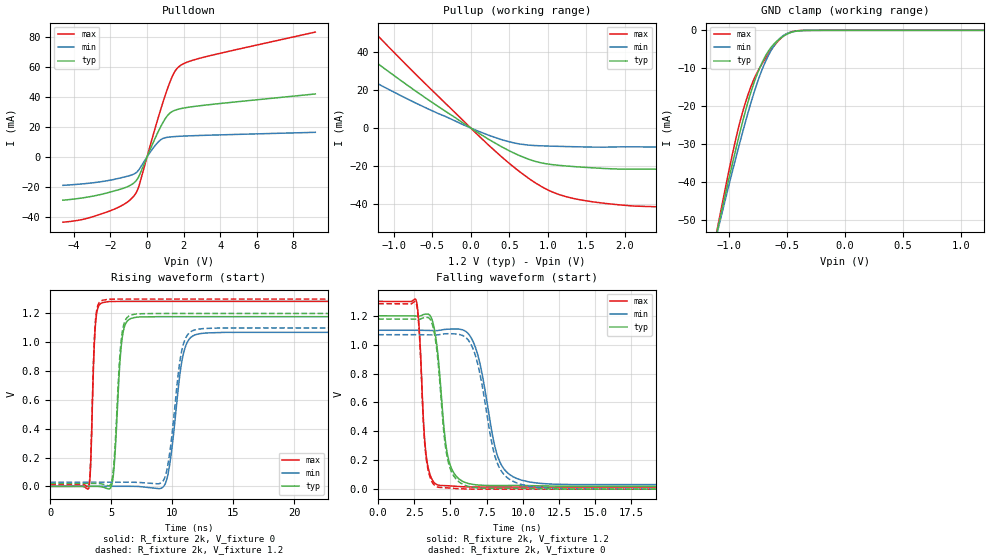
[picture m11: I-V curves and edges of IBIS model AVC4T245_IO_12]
| [Disclaimer] Property of Texas Instruments Incorporated.  Unauthorized
| reproduction and/or distribution is strictly prohibited.
| This product is protected under copyright law.
| Created  2004, (C) Copyright  2004, Texas Instruments
| Incorporated, All Rights Reserved
| UNLESS THERE IS A SIGNED, WRITTEN AGREEMENT TO THE
| CONTRARY, TEXAS INSTRUMENTS (TI) IS PROVIDING THE IBIS
| MODELS  AND WITHOUT ANY WARRANTY, EXPRESSED OR
| IMPLIED.  TI assumes no liability for:
| 1) the accuracy of the IBIS models provided to your
| company;
| 2) the proper functioning of these IBIS Models in your
| design or for any resulting applications; or
| 3) infringement of patents, copyrights or intellectual
| property rights resulting from your use of these IBIS
| models.
| TI provides IBIS Models as a service to our customers.
| You and your company shall not distribute, sell or give
| these models to anyone else without prior written
| permission from TI.
| TI reserves the right to make changes to our products or
| to discontinue any semiconductor product or service
| without notice, and advises our customers to obtain the
| latest version of relevant information to verify, before
| placing orders, that the information being relied on is
| current.
| Please be aware that your receipt and use of the IBIS
| information provided shall serve as acceptance of these
| terms and conditions.  If you do not accept these terms,
| you should return or destroy the IBIS models and any
| other accompanying information immediately.
| From SN74AVC4T245.ibs, Texas Instruments, Inc.
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[Model]   AVC4T245_IO_12
Model_type  I/O
Vinl=0.385
Vinh=0.845
Enable   Active-Low
Vref =   0
Rref =   2000
Cref =   15p
Vmeas =   0.6
| variable   typ   min   max
C_comp   5.32pF   4.67pF   5.87pF
| C_pullup   5.80pF   3.90pF   7.86pF
| C_pulldown   5.35pF   4.78pF   7.04pF
| C_tri-state   5.32pF   4.67pF   5.87pF
[Temperature Range]   40   100   -40
| Ambient temperature   25   85   -40
[Voltage range]   1.2   1.1   1.3
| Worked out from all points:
|   slope of the pulldown table from 0 to 0.18 V, typ, clamps not added: 34.6 ohm
|   slope of the pullup table from 0 to 0.18 V, typ, clamps not added: 38.6 ohm
|   GND clamp passes 1 mA (typ) near -0.50 V on its own axis
|   rising waveform, R_fixture 2k, V_fixture 0: 20-80 % time 470ps typ, 867ps min, 282ps max; typ from 0 V to 1.18 V
|   falling waveform, R_fixture 2k, V_fixture 1.2: 20-80 % time 670ps typ, 1.21ns min, 400ps max; typ from 1.2 V to 0.02 V
|   rising waveform, R_fixture 2k, V_fixture 1.2: 20-80 % time 464ps typ, 850ps min, 280ps max; typ from 0.02 V to 1.2 V
|   falling waveform, R_fixture 2k, V_fixture 0: 20-80 % time 669ps typ, 1.21ns min, 398ps max; typ from 1.18 V to 0 V
[GND Clamp]
| AVC4T245_IO_12
|   Voltage   I(typ)   I(min)   I(max)
-4.6V     -600.6mA   -549.4mA   -665.2mA
-1.095V   -51.67mA   -52.21mA   -50.99mA
-1.07V    -48.21mA   -49.07mA   -47.1mA
-940mV    -30.91mA   -33.25mA   -28.18mA
-840mV    -19.08mA   -21.94mA   -17.15mA
-775mV    -12.89mA   -15.38mA   -12.1mA
-695mV    -7.221mA   -8.795mA   -7.744mA
-615mV    -3.667mA   -4.134mA   -4.191mA
-545mV    -1.809mA   -1.655mA   -1.862mA
-465mV    -549.4uA   -452.9uA   -430.6uA
-360mV    -50.53uA   -51.21uA   -21.62uA
1.2V      713.5pA    34.31nA    67.13pA
[Pulldown]
| AVC4T245_IO_12
|   Voltage   I(typ)   I(min)   I(max)
-4.6V     -28.79mA   -18.92mA   -43.46mA
-3.41V    -27.05mA   -17.8mA    -41.31mA
-2.035V   -23.45mA   -15.53mA   -35.96mA
-1.17V    -20.3mA    -13.14mA   -30.86mA
-680mV    -16.87mA   -11.13mA   -25.38mA
-435mV    -12.68mA   -8.327mA   -19.06mA
440mV     12.38mA    7.543mA    19.04mA
955mV     24.67mA    12.69mA    39.57mA
1.42V     30.53mA    13.49mA    54.64mA
1.79V     32.04mA    13.78mA    60.61mA
3.17V     34.51mA    14.41mA    66.63mA
9.2V      41.96mA    16.4mA     83.17mA
[Pullup]
| AVC4T245_IO_12
|   Voltage   I(typ)   I(min)   I(max)
-4.6V     40.24mA    7.956mA    186.3mA
-4.08V    45.4mA     8.808mA    167.8mA
-3.73V    53.63mA    9.647mA    154.2mA
-2.685V   79.31mA    16.98mA    111.4mA
-2.57V    75.87mA    21.96mA    106.5mA
-2.565V   75.72mA    49.43mA    106.3mA
-1.845V   53.66mA    37.03mA    75.82mA
-1.36V    38.76mA    26.71mA    55.3mA
575mV     -13.51mA   -7.977mA   -21.19mA
1.01V     -19.08mA   -9.527mA   -32.92mA
1.455V    -20.71mA   -9.971mA   -38.21mA
9.2V      -28.28mA   -12.48mA   -52.65mA
[Ramp]
| AVC4T245_IO_12
| variable   typ   min   max
dV/dt_r   0.72/4.83E-10   0.65/8.83E-10   0.78/2.91E-10
dV/dt_f   0.72/6.79E-10   0.65/1.23E-09   0.78/4.10E-10
R_load = 2k
[Rising Waveform]
| AVC4T245_IO_12
R_fixture =   2k
C_fixture =   0
L_fixture =   0
V_fixture =   0
V_fixture_min = 0
V_fixture_max = 0
|   Time   V(typ)   V(min)   V(max)
0s        18.11nV    102nV      416.8pV
3.155ns   606.6uV    -113.6uV   -13.8mV
3.7ns     440.2uV    151.1uV    1.116V
4.285ns   -4.158mV   163.3uV    1.275V
5.105ns   33.86mV    467.9uV    1.283V
5.86ns    1.003V     359.2uV    1.284V
6.635ns   1.166V     221.8uV    1.284V
9.455ns   1.178V     21.81mV    1.284V
11.89ns   1.178V     1.052V     1.284V
40ns      1.178V     1.069V     1.284V
[Falling Waveform]
| AVC4T245_IO_12
R_fixture =   2k
C_fixture =   0
L_fixture =   0
V_fixture =   1.2
V_fixture_min = 1.1
V_fixture_max = 1.3
|   Time   V(typ)   V(min)   V(max)
0s        1.2V       1.1V       1.3V
2.635ns   1.198V     1.1V       1.304V
3.305ns   1.212V     1.099V     245.8mV
4.12ns    941.2mV    1.098V     29.57mV
4.675ns   313.6mV    1.106V     24.26mV
5.235ns   111.6mV    1.109V     20.63mV
6.58ns    32.59mV    1.019V     15.06mV
8.28ns    24.97mV    223.1mV    14.53mV
9.92ns    25.71mV    62.21mV    14.51mV
40ns      20.14mV    28.75mV    14.5mV
[Rising Waveform]
| AVC4T245_IO_12
R_fixture =   2k
C_fixture =   0
L_fixture =   0
V_fixture =   1.2
V_fixture_min = 1.1
V_fixture_max = 1.3
|   Time   V(typ)   V(min)   V(max)
0s        20.14mV    28.74mV    14.5mV
3.155ns   20.71mV    28.68mV    2.256mV
3.695ns   20.45mV    28.94mV    1.135V
4.275ns   16.13mV    28.92mV    1.292V
5.08ns    51.82mV    29.12mV    1.299V
5.83ns    1.023V     28.88mV    1.3V
6.605ns   1.188V     28.65mV    1.3V
9.375ns   1.2V       55.8mV     1.3V
11.74ns   1.2V       1.083V     1.3V
40ns      1.2V       1.1V       1.3V
[Falling Waveform]
| AVC4T245_IO_12
R_fixture =   2k
C_fixture =   0
L_fixture =   0
V_fixture =   0
V_fixture_min = 0
V_fixture_max = 0
|   Time   V(typ)   V(min)   V(max)
0s        1.178V     1.069V     1.284V
2.635ns   1.177V     1.069V     1.287V
3.3ns     1.189V     1.068V     230.9mV
4.1ns     923.3mV    1.068V     15.16mV
4.65ns    298mV      1.076V     9.669mV
5.22ns    92.51mV    1.075V     5.59mV
6.675ns   11.25mV    941.4mV    382.8uV
8.305ns   4.999mV    164.9mV    26.47uV
9.865ns   5.435mV    33.57mV    6.981uV
40ns      79.55nV    4.482uV    24.51nV
